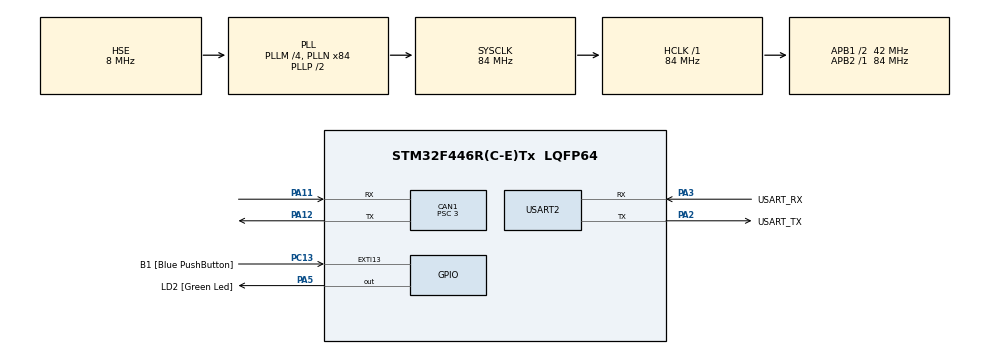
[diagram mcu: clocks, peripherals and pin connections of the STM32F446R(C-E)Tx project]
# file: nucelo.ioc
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CAN1.BS1=CAN_BS1_11TQ
CAN1.BS2=CAN_BS2_2TQ
CAN1.CalculateBaudRate=1000000
CAN1.CalculateTimeBit=1000
CAN1.CalculateTimeQuantum=71.42857142857143
CAN1.Prescaler=3
Mcu.Family=STM32F4
Mcu.Name=STM32F446R(C-E)Tx
Mcu.Package=LQFP64
NVIC.CAN1_RX0_IRQn=true\:0\:0\:false\:false\:true\:true\:true\:true
NVIC.CAN1_RX1_IRQn=true\:0\:0\:false\:false\:true\:true\:true\:true
NVIC.CAN1_SCE_IRQn=true\:0\:0\:false\:false\:true\:true\:true\:true
NVIC.CAN1_TX_IRQn=true\:0\:0\:false\:false\:true\:true\:true\:true
NVIC.PriorityGroup=NVIC_PRIORITYGROUP_0
NVIC.USART2_IRQn=true\:0\:0\:false\:false\:true\:true\:true\:true
PA11.Mode=CAN_Activate
PA11.Signal=CAN1_RX
PA12.Mode=CAN_Activate
PA12.Signal=CAN1_TX
PA13.GPIO_Label=TMS
PA13.Mode=Serial_Wire
PA13.Signal=SYS_JTMS-SWDIO
PA14.GPIO_Label=TCK
PA14.Mode=Serial_Wire
PA14.Signal=SYS_JTCK-SWCLK
PA2.GPIO_Label=USART_TX
PA2.Mode=Asynchronous
PA2.Signal=USART2_TX
PA3.GPIO_Label=USART_RX
PA3.Mode=Asynchronous
PA3.Signal=USART2_RX
PA5.GPIO_Label=LD2 [Green Led]
PA5.Signal=GPIO_Output
PB3.GPIO_Label=SWO
PB3.Signal=SYS_JTDO-SWO
PC13.GPIO_Label=B1 [Blue PushButton]
PC13.GPIO_ModeDefaultEXTI=GPIO_MODE_IT_FALLING
PC13.Signal=GPXTI13
PC14-OSC32_IN.Mode=LSE-External-Oscillator
PC14-OSC32_IN.Signal=RCC_OSC32_IN
PC15-OSC32_OUT.Mode=LSE-External-Oscillator
PC15-OSC32_OUT.Signal=RCC_OSC32_OUT
PH0-OSC_IN.Mode=HSE-External-Oscillator
PH0-OSC_IN.Signal=RCC_OSC_IN
PH1-OSC_OUT.Mode=HSE-External-Oscillator
PH1-OSC_OUT.Signal=RCC_OSC_OUT
ProjectManager.HeapSize=0x200
ProjectManager.StackSize=0x400
ProjectManager.TargetToolchain=Makefile
RCC.48MHZClocksFreq_Value=84000000
RCC.AHBFreq_Value=84000000
RCC.APB1CLKDivider=RCC_HCLK_DIV2
RCC.APB1Freq_Value=42000000
RCC.APB1TimFreq_Value=84000000
RCC.APB2Freq_Value=84000000
RCC.APB2TimFreq_Value=84000000
RCC.CortexFreq_Value=84000000
RCC.FLatency-AdvancedSettings=FLASH_LATENCY_2
RCC.HCLKFreq_Value=84000000
RCC.HSE_VALUE=8000000
RCC.HSI_VALUE=16000000
RCC.PLLM=4
RCC.PLLN=84
RCC.PLLSourceVirtual=RCC_PLLSOURCE_HSE
RCC.SYSCLKFreq_VALUE=84000000
RCC.SYSCLKSource=RCC_SYSCLKSOURCE_PLLCLK
RCC.USBFreq_Value=84000000
RCC.VCOOutputFreq_Value=168000000
USART2.VirtualMode=VM_ASYNC
board=NUCLEO-F446RE

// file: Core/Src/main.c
/* USER CODE BEGIN Header */
/**
  ******************************************************************************
  * @file           : main.c
  * @brief          : Main program body
  ******************************************************************************
  * @attention
  *
  * <h2><center>&copy; Copyright (c) 2021 STMicroelectronics.
  * All rights reserved.</center></h2>
  *
  * This software component is licensed by ST under BSD 3-Clause license,
  * the "License"; You may not use this file except in compliance with the
  * License. You may obtain a copy of the License at:
  *                        opensource.org/licenses/BSD-3-Clause
  *
  ******************************************************************************
  */
/* USER CODE END Header */
#include "main.h"
#include "can.h"
#include "usart.h"
#include "gpio.h"

/* USER CODE BEGIN Includes */

#include "common.h"
#include "stdio.h"
#include "../Lib/can/lib/primary/primary_network.h"
#include "../Lib/can/lib/secondary/secondary_network.h"
/* USER CODE END Includes */

/* USER CODE BEGIN PTD */
#define CMD_NONE 0U
#define CMD_NEWLINE '\n'
#define CMD_HELP 'h'
#define CMD_SET_TS_ON 'T'
#define CMD_SET_TS_OFF 't'
#define CMD_SET_CAR_IDLE 'c'
#define CMD_SET_CAR_READY 'C'
#define CMD_SET_CAR_DRIVE 'D'

/* USER CODE END PTD */

void SystemClock_Config(void);
/* USER CODE BEGIN PFP */
static void _eval_command(char character);
static void _cmd_help();

/* USER CODE END PFP */

int main(void)
{

  /* MCU Configuration--------------------------------------------------------*/

  /* Reset of all peripherals, Initializes the Flash interface and the Systick. */
  HAL_Init();

  /* Configure the system clock */
  SystemClock_Config();

  /* Initialize all configured peripherals */
  MX_GPIO_Init();
  MX_CAN1_Init();
  MX_USART2_UART_Init();
  /* USER CODE BEGIN 2 */
    for (uint8_t i = 0; i < 3; i++) {
        HAL_GPIO_TogglePin(LD2_GPIO_Port, LD2_Pin);
        HAL_Delay(200);
        HAL_GPIO_TogglePin(LD2_GPIO_Port, LD2_Pin);
        HAL_Delay(200);
    }
    print_log("Initialization success", NORM_HEADER);

    if (HAL_CAN_ActivateNotification(&hcan1, CAN_IT_RX_FIFO0_OVERRUN | CAN_IT_RX_FIFO1_OVERRUN) != HAL_OK)
        print_log("Failed to activate CAN_IT_RX_FIFOx_OVERRUN interrupt", CAN_ERR_HEADER);

    if (HAL_CAN_ActivateNotification(&hcan1, CAN_IT_ERROR_WARNING) != HAL_OK)
        print_log("Failed to activate CAN_IT_ERROR_WARNING interrupt", CAN_ERR_HEADER);

    if (HAL_CAN_ActivateNotification(&hcan1, CAN_IT_ERROR_PASSIVE) != HAL_OK)
        print_log("Failed to activate CAN_IT_ERROR_PASSIVE interrupt", CAN_ERR_HEADER);

    if (HAL_CAN_ActivateNotification(&hcan1, CAN_IT_BUSOFF) != HAL_OK)
        print_log("Failed to activate CAN_IT_BUSOFF interrupt", CAN_ERR_HEADER);

    if (HAL_CAN_ActivateNotification(&hcan1, CAN_IT_LAST_ERROR_CODE) != HAL_OK)
        print_log("Failed to activate CAN_IT_LAST_ERROR_CODE interrupt", CAN_ERR_HEADER);

    if (HAL_CAN_ActivateNotification(&hcan1, CAN_IT_ERROR) != HAL_OK)
        print_log("Failed to activate CAN_IT_ERROR interrupt", CAN_ERR_HEADER);

    /* Start CAN peripheral */
    if (HAL_CAN_Start(&hcan1) != HAL_OK)
        print_log("CAN_Start failed", CAN_ERR_HEADER);

    print_log("CAN started", CAN_HEADER);
  /* USER CODE END 2 */

  /* Infinite loop */
  /* USER CODE BEGIN WHILE */
    volatile char character = 0;
    HAL_UART_Receive_IT(&LOG_HUART, (uint8_t *)&character, sizeof(character));

    while (1) {
    /* USER CODE END WHILE */

    /* USER CODE BEGIN 3 */
        if (HAL_CAN_GetRxFifoFillLevel(&hcan1, CAN_RX_FIFO0) > 0) {
            uint8_t data[8]              = {};
            CAN_RxHeaderTypeDef rxheader = {};

            if (HAL_CAN_GetRxMessage(&hcan1, CAN_RX_FIFO0, &rxheader, data) == HAL_OK) {
                HAL_GPIO_TogglePin(LD2_GPIO_Port, LD2_Pin);
            } else {
                print_log("CAN GetRxMessage failed", CAN_ERR_HEADER);
            }
        }

        if (character != 0U) {
            if (character == CMD_NEWLINE)
                print_log("", NO_HEADER);
            else {
                // char buf[20] = { 0U };
                // sprintf(buf, "User input: %c", character);
                // print_log(buf, NO_HEADER);

                _eval_command(character);
                character = 0U;
            }

            HAL_UART_Receive_IT(&LOG_HUART, (uint8_t *)&character, sizeof(character));
        };
    }
  /* USER CODE END 3 */
}

void SystemClock_Config(void)
{
  RCC_OscInitTypeDef RCC_OscInitStruct = {0};
  RCC_ClkInitTypeDef RCC_ClkInitStruct = {0};

  /** Configure the main internal regulator output voltage
  */
  __HAL_RCC_PWR_CLK_ENABLE();
  __HAL_PWR_VOLTAGESCALING_CONFIG(PWR_REGULATOR_VOLTAGE_SCALE3);

  /** Initializes the RCC Oscillators according to the specified parameters
  * in the RCC_OscInitTypeDef structure.
  */
  RCC_OscInitStruct.OscillatorType = RCC_OSCILLATORTYPE_HSE;
  RCC_OscInitStruct.HSEState = RCC_HSE_ON;
  RCC_OscInitStruct.PLL.PLLState = RCC_PLL_ON;
  RCC_OscInitStruct.PLL.PLLSource = RCC_PLLSOURCE_HSE;
  RCC_OscInitStruct.PLL.PLLM = 4;
  RCC_OscInitStruct.PLL.PLLN = 84;
  RCC_OscInitStruct.PLL.PLLP = RCC_PLLP_DIV2;
  RCC_OscInitStruct.PLL.PLLQ = 2;
  RCC_OscInitStruct.PLL.PLLR = 2;
  if (HAL_RCC_OscConfig(&RCC_OscInitStruct) != HAL_OK)
  {
    Error_Handler();
  }

  /** Initializes the CPU, AHB and APB buses clocks
  */
  RCC_ClkInitStruct.ClockType = RCC_CLOCKTYPE_HCLK|RCC_CLOCKTYPE_SYSCLK
                              |RCC_CLOCKTYPE_PCLK1|RCC_CLOCKTYPE_PCLK2;
  RCC_ClkInitStruct.SYSCLKSource = RCC_SYSCLKSOURCE_PLLCLK;
  RCC_ClkInitStruct.AHBCLKDivider = RCC_SYSCLK_DIV1;
  RCC_ClkInitStruct.APB1CLKDivider = RCC_HCLK_DIV2;
  RCC_ClkInitStruct.APB2CLKDivider = RCC_HCLK_DIV1;

  if (HAL_RCC_ClockConfig(&RCC_ClkInitStruct, FLASH_LATENCY_2) != HAL_OK)
  {
    Error_Handler();
  }
}

/* USER CODE BEGIN 4 */
// 0x201 0x3d, 0x51,0x64
void _eval_command(char character) {
    const uint8_t CAN_BUF_LEN = 8;
    uint8_t msg_data[CAN_BUF_LEN];
    size_t msg_dlc;

    switch (character) {
        case CMD_NONE:
            break;
        case CMD_HELP:
            _cmd_help();
            break;
        case CMD_SET_TS_ON:
            print_log("Setting TS ON", NO_HEADER);
            primary_set_ts_status_das_t set_ts_on = { .ts_status_set = primary_set_ts_status_das_ts_status_set_ON };
            msg_dlc = primary_set_ts_status_das_pack(msg_data, &set_ts_on, CAN_BUF_LEN);
            CAN_send_payload(&hcan1, PRIMARY_SET_TS_STATUS_DAS_FRAME_ID, msg_data, msg_dlc);
            break;
        case CMD_SET_TS_OFF:
            primary_set_ts_status_das_t set_ts_off = { .ts_status_set = primary_set_ts_status_das_ts_status_set_OFF };
            msg_dlc = primary_set_ts_status_das_pack(msg_data, &set_ts_off, CAN_BUF_LEN);
            CAN_send_payload(&hcan1, PRIMARY_SET_TS_STATUS_DAS_FRAME_ID, msg_data, msg_dlc);
            break;
        case CMD_SET_CAR_IDLE:
            primary_set_car_status_t set_car_idle = { .car_status_set = primary_set_car_status_car_status_set_IDLE };
            msg_dlc = primary_set_car_status_pack(msg_data, &set_car_idle, CAN_BUF_LEN);
            CAN_send_payload(&hcan1, PRIMARY_SET_CAR_STATUS_FRAME_ID, msg_data, msg_dlc);
            break;
        case CMD_SET_CAR_READY:
            primary_set_car_status_t set_car_ready = { .car_status_set = primary_set_car_status_car_status_set_READY };
            msg_dlc = primary_set_car_status_pack(msg_data, &set_car_ready, CAN_BUF_LEN);
            CAN_send_payload(&hcan1, PRIMARY_SET_CAR_STATUS_FRAME_ID, msg_data, msg_dlc);
            break;
        case CMD_SET_CAR_DRIVE:
            primary_set_car_status_t set_car_drive = { .car_status_set = primary_set_car_status_car_status_set_DRIVE };
            msg_dlc = primary_set_car_status_pack(msg_data, &set_car_drive, CAN_BUF_LEN);
            CAN_send_payload(&hcan1, PRIMARY_SET_CAR_STATUS_FRAME_ID, msg_data, msg_dlc);
            break;
        default:
            break;
    }
}

static void _cmd_help() {
    print_log("\r\n+----|    H e l p    |---------------------------", NO_HEADER);

#define print_help_msg(cmd_char, cmd_desc)             \
    do {                                               \
        char buf[100];                                 \
        sprintf(buf, "| %c : %s", cmd_char, cmd_desc); \
        print_log(buf, NO_HEADER);                     \
    } while (0)

    print_help_msg(CMD_HELP, "Print help message");
    print_help_msg(CMD_SET_TS_ON, "Send: SetTsStatus = ON");
    print_help_msg(CMD_SET_TS_OFF, "Send: SetTsStatus = OFF");
    print_help_msg(CMD_SET_CAR_IDLE, "Send: SetCarStatus = IDLE");
    print_help_msg(CMD_SET_CAR_READY, "Send: SetCarStatus = READY");
    print_help_msg(CMD_SET_CAR_DRIVE, "Send: SetCarStatus = DRIVE");
#undef make_help_msg

    print_log("+------------------------------------------------\r\n", NO_HEADER);
}
/* USER CODE END 4 */

void Error_Handler(void)
{
    __disable_irq();
    while (1) {
    }
}
